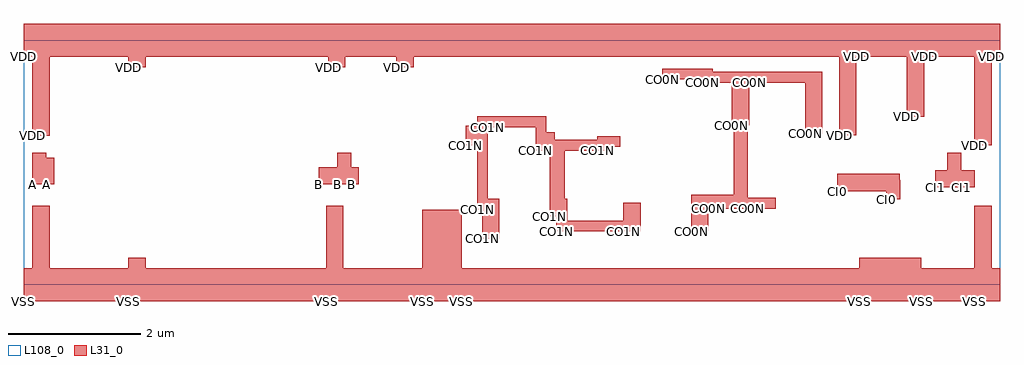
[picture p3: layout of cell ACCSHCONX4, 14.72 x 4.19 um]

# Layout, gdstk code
import gdstk
lib = gdstk.Library(unit=1e-6, precision=1e-09)
def R(c, l, rs):  # rectangles x0, y0, x1, y1
    for r in rs: c.add(gdstk.rectangle(r[:2], r[2:], *l))
L31_0 = (31, 0)
L108_0 = (108, 0)

accshconx4 = lib.new_cell('ACCSHCONX4')
R(accshconx4, L31_0, [(0,-0.25,0.125,0.25), (0.125,-0.25,0.385,1.195), (0.385,-0.25,1.575,0.25), (1.575,-0.25,1.835,0.405), (1.835,-0.25,4.555,0.25), (4.555,-0.25,4.815,1.195), (4.815,-0.25,6.005,0.25), (6.005,-0.25,6.605,1.135), (6.605,-0.25,12.595,0.25), (12.595,-0.25,13.535,0.405), (13.535,-0.25,14.335,0.25), (14.335,-0.25,14.595,1.195), (14.595,-0.25,14.72,0.25), (6.91,0.695,6.995,2.54), (6.995,0.695,7.17,1.295), (8.03,0.81,8.155,2.185), (8.155,0.81,8.19,1.295), (8.19,0.81,9.04,0.97), (9.04,0.81,9.3,1.24), (10.06,0.81,10.32,1.36), (7.93,1.035,8.005,2.305), (8.005,1.035,8.03,2.185), (6.835,1.135,6.91,2.54), (10.32,1.15,10.705,1.36), (10.705,1.15,10.915,3.21), (10.915,1.15,11.34,1.31), (13.005,1.29,13.205,1.675), (13.205,1.29,13.215,1.58), (12.265,1.415,13.005,1.675), (13.74,1.47,13.925,1.73), (13.925,1.47,14.135,1.99), (14.135,1.47,14.34,1.73), (0.125,1.515,0.335,1.99), (0.335,1.515,0.455,1.915), (4.445,1.515,4.725,1.775), (4.725,1.515,4.935,1.99), (4.935,1.515,5.045,1.775), (7.715,2.025,7.875,2.54), (7.875,2.025,7.93,2.305), (8.155,2.025,8.645,2.185), (8.645,2.025,8.805,2.24), (8.805,2.08,8.995,2.24), (6.665,2.105,6.835,2.4), (14.335,2.105,14.595,3.94), (0.125,2.25,0.385,3.94), (12.295,2.255,12.555,3.94), (11.78,2.275,12.04,3.215), (6.995,2.38,7.715,2.54), (10.675,2.405,10.705,3.21), (10.915,2.405,10.935,3.21), (13.315,2.535,13.575,3.94), (10.23,3.05,10.39,3.26), (10.39,3.05,10.675,3.21), (10.935,3.05,11.78,3.21), (9.625,3.1,10.23,3.26), (1.575,3.285,1.835,3.94), (4.585,3.285,4.845,3.94), (5.615,3.285,5.875,3.94), (0,3.44,0.125,3.94), (0.385,3.44,1.575,3.94), (1.835,3.44,4.585,3.94), (4.845,3.44,5.615,3.94), (5.875,3.44,12.295,3.94), (12.555,3.44,13.315,3.94), (13.575,3.44,14.335,3.94), (14.595,3.44,14.72,3.94)])
R(accshconx4, L108_0, [(0,0,14.72,3.69)])
accshconx4.add(gdstk.Label('CO1N', (6.665,2.105), layer=131, texttype=0))
accshconx4.add(gdstk.Label('CO1N', (6.835,1.135), layer=131, texttype=0))
accshconx4.add(gdstk.Label('CO1N', (6.91,0.695), layer=131, texttype=0))
accshconx4.add(gdstk.Label('CO1N', (6.995,0.695), layer=131, texttype=0))
accshconx4.add(gdstk.Label('CO1N', (6.995,2.38), layer=131, texttype=0))
accshconx4.add(gdstk.Label('CO1N', (7.715,2.025), layer=131, texttype=0))
accshconx4.add(gdstk.Label('CO1N', (7.875,2.025), layer=131, texttype=0))
accshconx4.add(gdstk.Label('CO1N', (7.93,1.035), layer=131, texttype=0))
accshconx4.add(gdstk.Label('CO1N', (8.005,1.035), layer=131, texttype=0))
accshconx4.add(gdstk.Label('CO1N', (8.03,0.81), layer=131, texttype=0))
accshconx4.add(gdstk.Label('CO1N', (8.155,0.81), layer=131, texttype=0))
accshconx4.add(gdstk.Label('CO1N', (8.155,2.025), layer=131, texttype=0))
accshconx4.add(gdstk.Label('CO1N', (8.645,2.025), layer=131, texttype=0))
accshconx4.add(gdstk.Label('CO1N', (8.805,2.08), layer=131, texttype=0))
accshconx4.add(gdstk.Label('CO1N', (8.19,0.81), layer=131, texttype=0))
accshconx4.add(gdstk.Label('CO1N', (9.04,0.81), layer=131, texttype=0))
accshconx4.add(gdstk.Label('CO0N', (9.625,3.1), layer=131, texttype=0))
accshconx4.add(gdstk.Label('CO0N', (10.06,0.81), layer=131, texttype=0))
accshconx4.add(gdstk.Label('CO0N', (10.23,3.05), layer=131, texttype=0))
accshconx4.add(gdstk.Label('CO0N', (10.39,3.05), layer=131, texttype=0))
accshconx4.add(gdstk.Label('CO0N', (10.675,2.405), layer=131, texttype=0))
accshconx4.add(gdstk.Label('CO0N', (10.32,1.15), layer=131, texttype=0))
accshconx4.add(gdstk.Label('CO0N', (10.705,1.15), layer=131, texttype=0))
accshconx4.add(gdstk.Label('CO0N', (10.915,2.405), layer=131, texttype=0))
accshconx4.add(gdstk.Label('CO0N', (10.915,1.15), layer=131, texttype=0))
accshconx4.add(gdstk.Label('CO0N', (10.935,3.05), layer=131, texttype=0))
accshconx4.add(gdstk.Label('CO0N', (11.78,2.275), layer=131, texttype=0))
accshconx4.add(gdstk.Label('CI1', (13.74,1.47), layer=131, texttype=0))
accshconx4.add(gdstk.Label('CI1', (13.925,1.47), layer=131, texttype=0))
accshconx4.add(gdstk.Label('CI1', (14.135,1.47), layer=131, texttype=0))
accshconx4.add(gdstk.Label('CI0', (12.265,1.415), layer=131, texttype=0))
accshconx4.add(gdstk.Label('CI0', (13.005,1.29), layer=131, texttype=0))
accshconx4.add(gdstk.Label('CI0', (13.205,1.29), layer=131, texttype=0))
accshconx4.add(gdstk.Label('B', (4.445,1.515), layer=131, texttype=0))
accshconx4.add(gdstk.Label('B', (4.725,1.515), layer=131, texttype=0))
accshconx4.add(gdstk.Label('B', (4.935,1.515), layer=131, texttype=0))
accshconx4.add(gdstk.Label('A', (0.125,1.515), layer=131, texttype=0))
accshconx4.add(gdstk.Label('A', (0.335,1.515), layer=131, texttype=0))
accshconx4.add(gdstk.Label('VSS', (0,-0.25), layer=131, texttype=0))
accshconx4.add(gdstk.Label('VSS', (0.125,-0.25), layer=131, texttype=0))
accshconx4.add(gdstk.Label('VSS', (0.385,-0.25), layer=131, texttype=0))
accshconx4.add(gdstk.Label('VSS', (1.575,-0.25), layer=131, texttype=0))
accshconx4.add(gdstk.Label('VSS', (1.835,-0.25), layer=131, texttype=0))
accshconx4.add(gdstk.Label('VSS', (4.555,-0.25), layer=131, texttype=0))
accshconx4.add(gdstk.Label('VSS', (4.815,-0.25), layer=131, texttype=0))
accshconx4.add(gdstk.Label('VSS', (6.005,-0.25), layer=131, texttype=0))
accshconx4.add(gdstk.Label('VSS', (6.605,-0.25), layer=131, texttype=0))
accshconx4.add(gdstk.Label('VSS', (12.595,-0.25), layer=131, texttype=0))
accshconx4.add(gdstk.Label('VSS', (13.535,-0.25), layer=131, texttype=0))
accshconx4.add(gdstk.Label('VSS', (14.335,-0.25), layer=131, texttype=0))
accshconx4.add(gdstk.Label('VSS', (14.595,-0.25), layer=131, texttype=0))
accshconx4.add(gdstk.Label('VDD', (0,3.44), layer=131, texttype=0))
accshconx4.add(gdstk.Label('VDD', (0.125,2.25), layer=131, texttype=0))
accshconx4.add(gdstk.Label('VDD', (0.385,3.44), layer=131, texttype=0))
accshconx4.add(gdstk.Label('VDD', (1.575,3.285), layer=131, texttype=0))
accshconx4.add(gdstk.Label('VDD', (1.835,3.44), layer=131, texttype=0))
accshconx4.add(gdstk.Label('VDD', (4.585,3.285), layer=131, texttype=0))
accshconx4.add(gdstk.Label('VDD', (4.845,3.44), layer=131, texttype=0))
accshconx4.add(gdstk.Label('VDD', (5.615,3.285), layer=131, texttype=0))
accshconx4.add(gdstk.Label('VDD', (5.875,3.44), layer=131, texttype=0))
accshconx4.add(gdstk.Label('VDD', (12.295,2.255), layer=131, texttype=0))
accshconx4.add(gdstk.Label('VDD', (12.555,3.44), layer=131, texttype=0))
accshconx4.add(gdstk.Label('VDD', (13.315,2.535), layer=131, texttype=0))
accshconx4.add(gdstk.Label('VDD', (13.575,3.44), layer=131, texttype=0))
accshconx4.add(gdstk.Label('VDD', (14.335,2.105), layer=131, texttype=0))
accshconx4.add(gdstk.Label('VDD', (14.595,3.44), layer=131, texttype=0))

lib.write_gds('ACCSHCONX4.gds')
